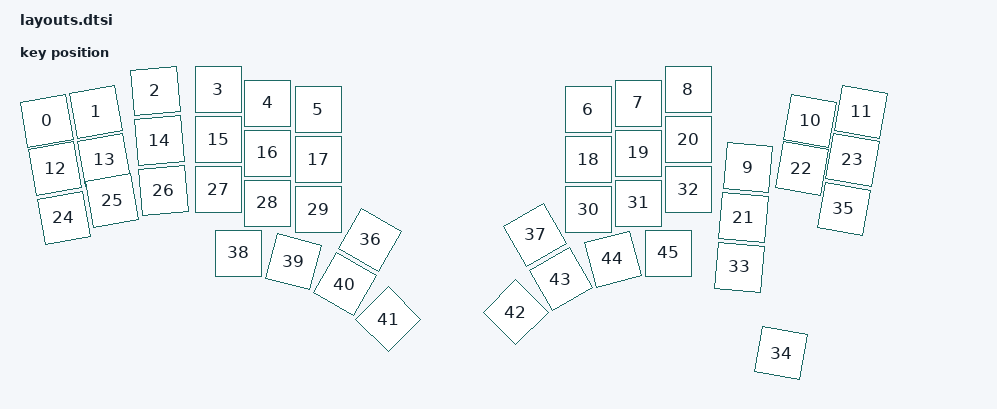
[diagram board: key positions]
#include <physical_layouts.dtsi>

/ {
    hsv_6col_layout: hsv_6col_layout {
        compatible = "zmk,physical-layout";
        display-name = "46-key layout";

        keys  //                     w   h    x    y     rot    rx    ry
            = <&key_physical_attrs 100 100    0   55 (-1000)   100    15>
            , <&key_physical_attrs 100 100  100   55 (-1000)   100    15>
            , <&key_physical_attrs 100 100  229   27  (-500)     0    15>
            , <&key_physical_attrs 100 100  360    0       0     0     0>
            , <&key_physical_attrs 100 100  459   27       0     0     0>
            , <&key_physical_attrs 100 100  560   40       0     0     0>
            , <&key_physical_attrs 100 100 1100   40       0     0     0>
            , <&key_physical_attrs 100 100 1200   27       0     0     0>
            , <&key_physical_attrs 100 100 1300    0       0     0     0>
            , <&key_physical_attrs 100 100 1430   27     500     0    15>
            , <&key_physical_attrs 100 100 1560   55    1000  1560    15>
            , <&key_physical_attrs 100 100 1660   55    1000  1760    15>
            , <&key_physical_attrs 100 100    0  152 (-1000)   100    15>
            , <&key_physical_attrs 100 100  100  152 (-1000)   100    15>
            , <&key_physical_attrs 100 100  229  127  (-500)     0    15>
            , <&key_physical_attrs 100 100  360  100       0     0     0>
            , <&key_physical_attrs 100 100  459  127       0     0     0>
            , <&key_physical_attrs 100 100  560  140       0     0     0>
            , <&key_physical_attrs 100 100 1100  140       0     0     0>
            , <&key_physical_attrs 100 100 1200  127       0     0     0>
            , <&key_physical_attrs 100 100 1300  100       0     0     0>
            , <&key_physical_attrs 100 100 1430  127     500     0    15>
            , <&key_physical_attrs 100 100 1560  152    1000  1560    15>
            , <&key_physical_attrs 100 100 1660  152    1000  1760    15>
            , <&key_physical_attrs 100 100    0  252 (-1000)   100    15>
            , <&key_physical_attrs 100 100  100  252 (-1000)     0    15>
            , <&key_physical_attrs 100 100  229  227  (-500)     0    15>
            , <&key_physical_attrs 100 100  360  200       0     0     0>
            , <&key_physical_attrs 100 100  459  227       0     0     0>
            , <&key_physical_attrs 100 100  560  240       0     0     0>
            , <&key_physical_attrs 100 100 1100  240       0     0     0>
            , <&key_physical_attrs 100 100 1200  227       0     0     0>
            , <&key_physical_attrs 100 100 1300  200       0     0     0>
            , <&key_physical_attrs 100 100 1430  227     500     0    15>
            , <&key_physical_attrs 100 100 1560  252    1000     0    15>
            , <&key_physical_attrs 100 100 1660  252    1000  1760    15>
            , <&key_physical_attrs 100 100  400  225    3000   440   805>
            , <&key_physical_attrs 100 100 1260  225 (-3000)  1300   805>
            , <&key_physical_attrs 100 100  400  327       0     0     0>
            , <&key_physical_attrs 100 100  400  327    1500   440   805>
            , <&key_physical_attrs 100 100  400  327    3000   440   805>
            , <&key_physical_attrs 100 100  400  327    4500   440   805>
            , <&key_physical_attrs 100 100 1260  327 (-4500)  1300   805>
            , <&key_physical_attrs 100 100 1260  327 (-3000)  1300   805>
            , <&key_physical_attrs 100 100 1260  327 (-1500)  1300   805>
            , <&key_physical_attrs 100 100 1260  327       0     0     0>
            ;
    };

    hsv_position_map {
        compatible = "zmk,physical-layout-position-map";

        complete;

        twelve {
            physical-layout = <&hsv_6col_layout>;
            positions
                = < 0  1  2  3  4  5     6  7  8  9 10 11>
                , <12 13 14 15 16 17    18 19 20 21 22 23>
                , <24 25 26 27 28 29    30 31 32 33 34 35>
                , <               36    37               >
                , <      38 39 40 41    42 43 44 45      >;
        };
    };
};
